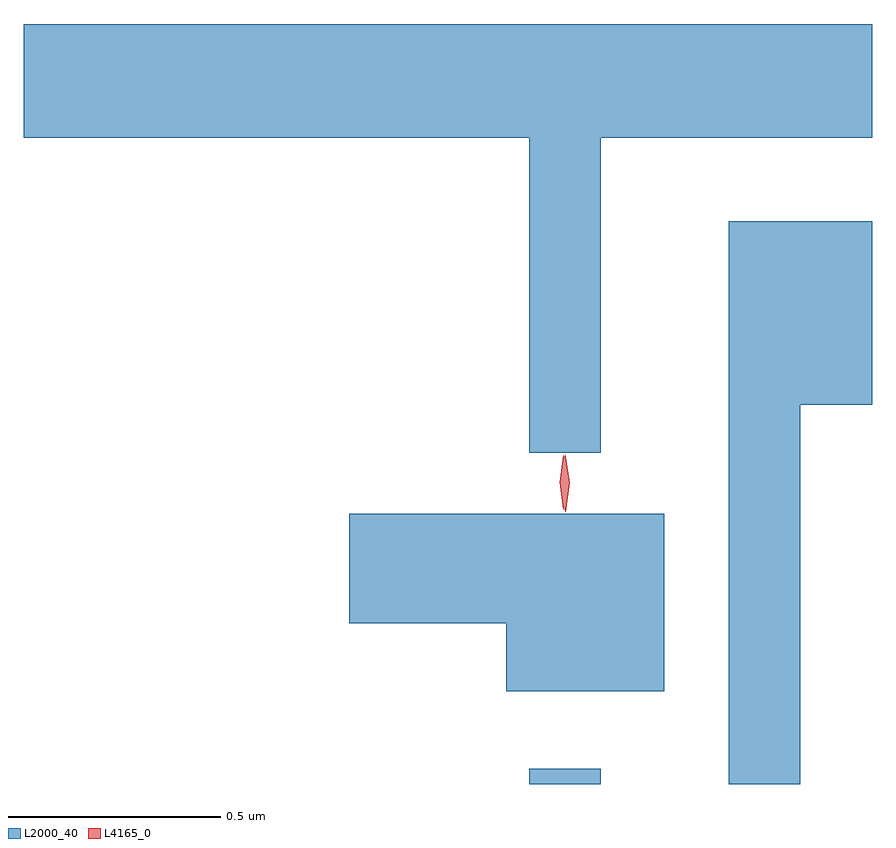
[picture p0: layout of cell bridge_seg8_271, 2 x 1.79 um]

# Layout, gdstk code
import gdstk
lib = gdstk.Library(unit=1e-6, precision=1e-09)
def R(c, l, rs):  # rectangles x0, y0, x1, y1
    for r in rs: c.add(gdstk.rectangle(r[:2], r[2:], *l))
def P(c, l, *ps):  # polygons
    for p in ps: c.add(gdstk.Polygon(p, *l))
L2000_40 = (2000, 40)
L4165_0 = (4165, 0)

bridge_seg8_271 = lib.new_cell('bridge_seg8_271')
R(bridge_seg8_271, L2000_40, [(1218.791,1810.472,1218.959,1810.508)])
P(bridge_seg8_271, L2000_40, [(1218.959,1811.996),(1219.599,1811.996),(1219.599,1812.264),(1217.599,1812.264),(1217.599,1811.996),(1218.791,1811.996),(1218.791,1811.253),(1218.959,1811.253)],
  [(1219.429,1811.366),(1219.599,1811.366),(1219.599,1811.799),(1219.261,1811.799),(1219.261,1810.472),(1219.429,1810.472)],
  [(1219.109,1811.109),(1218.366,1811.109),(1218.366,1810.851),(1218.736,1810.851),(1218.736,1810.691),(1219.109,1810.691)])
P(bridge_seg8_271, L4165_0, [(1218.876,1811.114),(1218.876,1811.114),(1218.866,1811.182),(1218.875,1811.25),(1218.875,1811.25),(1218.876,1811.25),(1218.886,1811.182),(1218.877,1811.114)],
  [(1218.871,1811.12),(1218.862,1811.183),(1218.871,1811.246),(1218.872,1811.247),(1218.872,1811.246),(1218.882,1811.183),(1218.872,1811.12),(1218.872,1811.12)])

lib.write_gds('bridge_seg8_271.gds')
